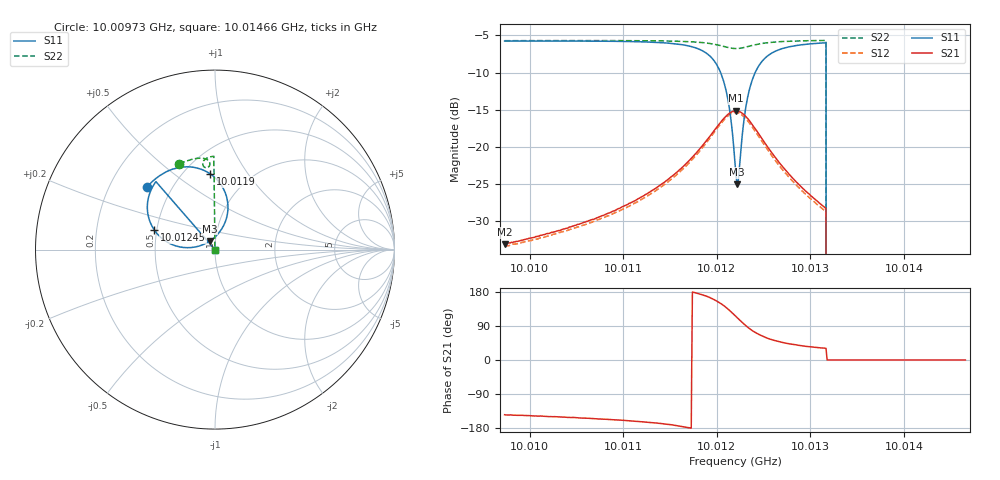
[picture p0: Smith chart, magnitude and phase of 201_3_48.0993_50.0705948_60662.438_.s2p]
#  HZ  S  RI  R  50.00
! Rohde & Schwarz Vector Network Analyzer
! Rohde-Schwarz,ZNB20-2Port,1311601062101988,3.16
! Created: UTC 12/23/2023, 3:54:46 AM
! freq[Hz]  re:S11  im:S11  re:S21  im:S21  re:S12  im:S12  re:S22  im:S22
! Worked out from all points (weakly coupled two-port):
!   401 points, 10.00973 GHz to 10.01466 GHz, reference 50 ohm
!   highest |S21| = -15.16 dB at 10.01221 GHz (marker M1); lowest = -33.1 dB at 10.00973 GHz (marker M2)
!   lowest |S11| = -25.1 dB at 10.01222 GHz (marker M3), VSWR 1.12, Z = 47 + j4.52 ohm
!   |S11| at or under -10 dB: 10.01204 GHz to 10.01241 GHz (370.1 kHz wide, 0.0037 % of centre); 10.01317 GHz to end of sweep
!   |S22| runs from - to -5.7 dB; largest |S21 - S12| = 0.0086
!   S11 on the Smith chart (normalised r, x): 10.00973 GHz: 0.36, +0.34; 10.0119 GHz: 0.67, +0.69; 10.01245 GHz: 0.49, +0.12; 10.01466 GHz: 1.00, +0.00
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1.0009732e10  -0.3801 0.3482  -0.0179 -0.0128  -0.0167 -0.0133  -0.198 0.479
1.0010557e10  -0.3247 0.3998  -0.0273 -0.0138  -0.0256 -0.0146  -0.1457 0.4981
1.0011382e10  -0.2213 0.4527  -0.0531 -0.0121  -0.0503 -0.0145  -0.0865 0.5094
1.0011665e10  -0.1432 0.461  -0.0762 -0.00399  -0.0732 -0.00781  -0.0616 0.5082
1.0011899e10  -0.0261 0.4215  -0.1093 0.0242  -0.1072 0.0179  -0.0381 0.4973
1.001201e10  0.0438 0.3447  -0.1242 0.0606  -0.1241 0.0526  -0.0294 0.4842
1.0012083e10  0.0716 0.2513  -0.1236 0.0974  -0.1251 0.0892  -0.029 0.4717
1.0012145e10  0.0565 0.1525  -0.1064 0.1325  -0.1096 0.1246  -0.0349 0.4617
1.0012194e10  0.00748 0.0772  -0.0797 0.1553  -0.0839 0.1482  -0.0438 0.4569
1.0012207e10  -0.01 0.0615  -0.0716 0.1593  -0.0763 0.1522  -0.0463 0.4566
1.0012219e10  -0.0285 0.0479  -0.0634 0.1624  -0.0678 0.1557  -0.0489 0.4564
1.0012243e10  -0.0696 0.0264  -0.0464 0.166  -0.0504 0.1599  -0.0539 0.4572
1.0012293e10  -0.1556 0.0107  -0.0124 0.1636  -0.0168 0.1579  -0.0623 0.4624
1.001233e10  -0.2151 0.0196  0.00943 0.1546  0.00375 0.1494  -0.0663 0.4683
1.0012379e10  -0.2781 0.0492  0.0305 0.1378  0.0245 0.1336  -0.0685 0.4766
1.0012453e10  -0.3374 0.1082  0.047 0.1114  0.0413 0.1082  -0.0666 0.4882
1.001265e10  -0.3771 0.2397  0.0526 0.0615  0.0479 0.0604  -0.0505 0.5069
1.0013019e10  -0.345 0.3544  0.038 0.0259  0.0348 0.0264  -0.0183 0.5183
1.0013142e10  -0.3316 0.3751  0.0338 0.0207  0.0311 0.0211  -0.00861 0.5199
1.0013204e10  0 0  0 0  0 0  0 0
1.0013844e10  0 0  0 0  0 0  0 0
1.0014656e10  0 0  0 0  0 0  0 0
